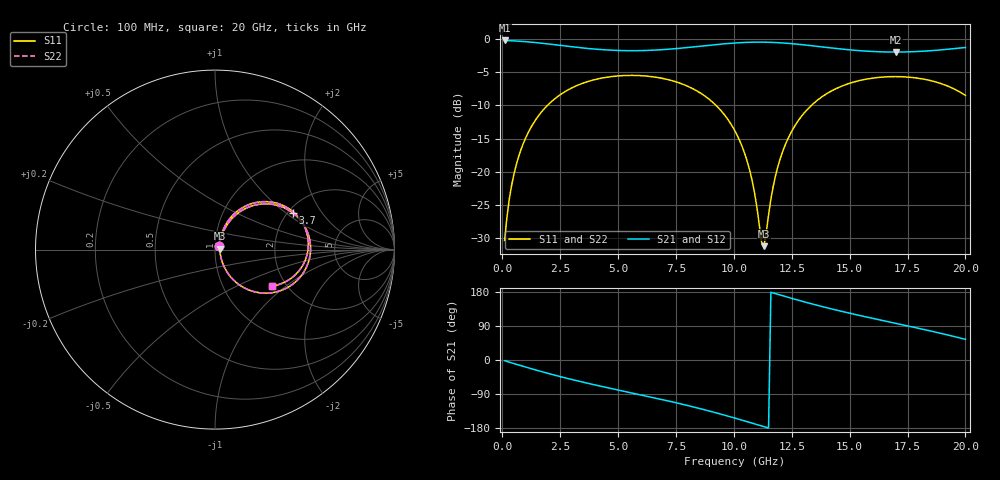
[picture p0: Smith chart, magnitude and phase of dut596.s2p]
! Touchstone file exported from HFSS 2026.1.0
!  File:  C:/ffzhzh/LocalFiles/Ansys_Project_Files/temp_train_TSV_RDL_596_1783121378_46604.aedt
!  Generated:  07:43:46 AM Jul  4, 2026
!  Design:  TSV_RDL
!  Project:  temp_train_TSV_RDL_596_1783121378_46604
! Variables:
!  h_bsmrdl = 4.35um
!  h_ox = 20um
!  h_rdl = 5um
!  h_sub = 51.59um
!  h_tmrdl = 3.96um
!  h_tsv = 51.59um
!  h_via = 3um
!  l_bsmrdl = 882.41um
!  l_sub = 5522.04um
!  l_tmrdl = 590.06um
!  m_sub = 200um
!  pitch = 45.16um
!  r_tsv = 11.41um
!  s_tmrdl = 10um
!  w_bsmrdl = 21.26um
!  w_sub = 500um
!  w_tmrdl = 16.93um
!  x_tsv_center1 = 598.525um
!  x_tsv_center2 = 1502.195um
!  x_tsv_center3 = 2109.185um
!  x_tsv_center4 = 3012.855um
!  x_tsv_center5 = 3619.845um
!  x_tsv_center6 = 4523.515um
# GHz S MA R 50.000000
! Terminal data exported
! Port[1] = TM_RDL1_1_T1
! Port[2] = TM_RDL5_1_T1
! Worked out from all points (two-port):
!   200 points, 100 MHz to 20 GHz, reference 50 ohm
!   highest |S21| = -0.21 dB at 100 MHz (marker M1); lowest = -2.0 dB at 17 GHz (marker M2)
!   |S21| within 3 dB of the highest: start of sweep to end of sweep
!   lowest |S11| = -31.2 dB at 11.3 GHz (marker M3), VSWR 1.06, Z = 52.8 + j0.646 ohm
!   |S11| at or under -10 dB: start of sweep to 1.948 GHz; 9.232 GHz to 13.35 GHz (4.116 GHz wide, 36.5 % of centre)
!   |S22| runs from -31.3 to -5.5 dB; largest |S21 - S12| = 1.7e-14
!   S11 on the Smith chart (normalised r, x): 100 MHz: 1.05, +0.04; 3.7 GHz: 2.12, +1.13; 20 GHz: 1.69, -0.80
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0.1  0.03036 38.1  0.9766 -2.0  0.9766 -2.0  0.03036 38.1
! Gamma 0 0 0 0
! Port Impedance 50 0 50 0
0.3  0.06184 60.3  0.9733 -5.7  0.9733 -5.7  0.06185 60.3
0.5  0.09546 64.6  0.9695 -9.4  0.9695 -9.4  0.09546 64.6
1.1  0.1943 61.5  0.9535 -20.3  0.9535 -20.3  0.1943 61.5
2.1  0.3354 47.8  0.9138 -37.4  0.9138 -37.4  0.3354 47.8
3.5  0.4665 28.0  0.8561 -58.7  0.8561 -58.7  0.4665 28.0
3.7  0.479 25.3  0.8494 -61.6  0.8494 -61.6  0.479 25.3
5.3  0.5316 4.7  0.8186 -83.1  0.8186 -83.1  0.5316 4.7
6.8  0.5103 -14.3  0.83 -103.0  0.83 -103.0  0.5103 -14.3
8.8  0.3669 -41.4  0.8931 -132.3  0.8931 -132.3  0.3669 -41.4
10.1  0.195 -58.9  0.9361 -154.2  0.9361 -154.2  0.195 -58.9
10.7  0.1002 -61.6  0.9467 -165.0  0.9467 -165.0  0.1001 -61.7
11.2  0.02953 -19.9  0.9487 -174.1  0.9487 -174.1  0.02941 -20.0
11.3  0.02749 12.9  0.9482 -175.9  0.9482 -175.9  0.02737 12.9
11.7  0.07755 64.7  0.9439 176.9  0.9439 176.9  0.07752 64.8
12.1  0.1408 67.1  0.9355 169.7  0.9355 169.7  0.1408 67.2
13.4  0.3225 52.0  0.8899 147.6  0.8899 147.6  0.3225 52.0
14.9  0.4582 31.7  0.8328 124.9  0.8328 124.9  0.4582 31.7
16.7  0.5207 9.1  0.799 100.6  0.799 100.6  0.5207 9.1
17  0.5217 5.4  0.7984 96.6  0.7984 96.6  0.5217 5.4
18.4  0.4909 -11.9  0.8149 77.9  0.8149 77.9  0.4909 -11.9
20  0.3762 -32.7  0.8647 54.5  0.8647 54.5  0.3762 -32.8
